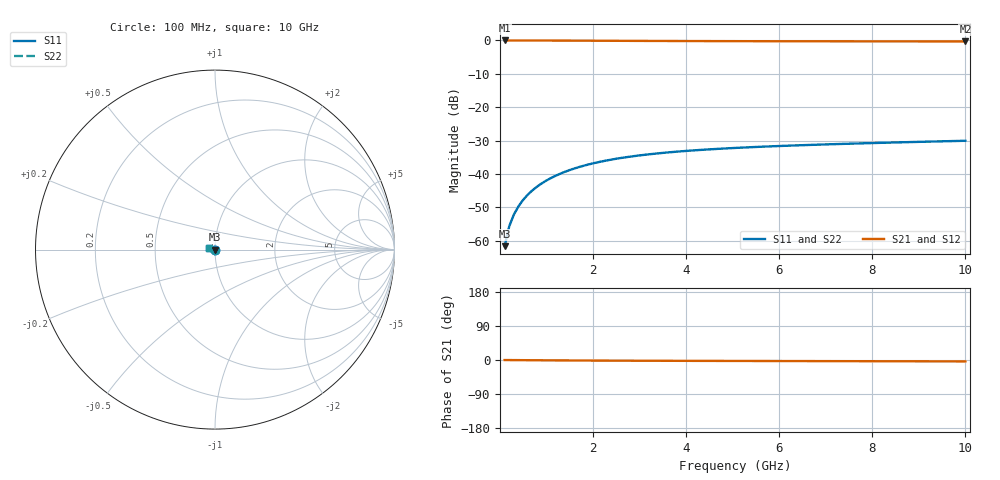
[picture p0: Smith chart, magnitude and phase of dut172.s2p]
! Touchstone file exported from HFSS 2024.1.0
!  File:  C:/UserFiles/LocalFiles/RDL_TSV_Batchsim/temp_TSV1_172_1779383408.aedt
!  Generated:  01:15:17 AM May 22, 2026
!  Design:  TSV1
!  Project:  temp_TSV1_172_1779383408
!  Setup:  Setup1
!  Solution:  Sweep
! Variables:
!  dtsv = 10.33um
!  hbump = 3um
!  htsv = 53.63um
!  lrdl = 252.1521522um
!  p = 40
!  p1 = 53.75um
!  t = 500um
!  trdl = 3um
!  wrdl = 24.89489489um
# GHz S MA R 50.000000
! Terminal data exported
! Port[1] = TSV22_T1
! Port[2] = TSV22_T2
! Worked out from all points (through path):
!   100 points, 100 MHz to 10 GHz, reference 50 ohm
!   highest |S21| = 0.00 dB at 100 MHz (marker M1); lowest = -0.3 dB at 10 GHz (marker M2)
!   lowest |S11| = -61.6 dB at 100 MHz (marker M3), VSWR 1.00, Z = 50 - j0.083 ohm
!   |S11| at or under -10 dB: start of sweep to end of sweep
!   |S22| runs from -61.6 to -30.0 dB; largest |S21 - S12| = 6.2e-15
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0.1  0.0008336 -84.6  0.9999 -0.1  0.9999 -0.1  0.0008336 -84.6
! Gamma 0 0 0 0
! Port Impedance 50 0 50 0
0.2  0.00166 -90.1  0.9998 -0.2  0.9998 -0.2  0.00166 -90.1
0.3  0.002487 -93.3  0.9996 -0.3  0.9996 -0.3  0.002487 -93.3
0.4  0.003311 -95.9  0.9994 -0.4  0.9994 -0.4  0.003311 -95.9
0.5  0.004128 -98.3  0.9991 -0.4  0.9991 -0.4  0.004128 -98.3
0.6  0.004934 -100.5  0.9988 -0.5  0.9988 -0.5  0.004934 -100.5
0.7  0.005728 -102.7  0.9984 -0.6  0.9984 -0.6  0.005728 -102.7
0.8  0.006509 -104.8  0.998 -0.7  0.998 -0.7  0.006509 -104.8
0.9  0.007274 -106.8  0.9976 -0.8  0.9976 -0.8  0.007274 -106.8
1.1  0.008756 -110.8  0.9966 -0.9  0.9966 -0.9  0.008756 -110.8
1.4  0.01084 -116.4  0.9948 -1.1  0.9948 -1.1  0.01084 -116.4
1.6  0.01213 -119.9  0.9936 -1.3  0.9936 -1.3  0.01213 -119.9
1.8  0.01334 -123.3  0.9923 -1.4  0.9923 -1.4  0.01334 -123.3
2.1  0.01501 -128.1  0.9904 -1.5  0.9904 -1.5  0.01501 -128.1
2.5  0.01696 -134.0  0.9878 -1.7  0.9878 -1.7  0.01696 -134.0
2.9  0.01865 -139.4  0.9854 -1.9  0.9854 -1.9  0.01865 -139.4
3.4  0.02043 -145.5  0.9827 -2.1  0.9827 -2.1  0.02043 -145.5
4.2  0.02272 -154.0  0.979 -2.3  0.979 -2.3  0.02272 -154.0
5.1  0.0247 -162.0  0.9758 -2.5  0.9758 -2.5  0.0247 -162.0
6.7  0.02737 -173.7  0.9718 -2.9  0.9718 -2.9  0.02737 -173.7
8.4  0.02962 176.4  0.9691 -3.3  0.9691 -3.3  0.02962 176.4
10  0.03152 168.6  0.9673 -3.7  0.9673 -3.7  0.03152 168.6
